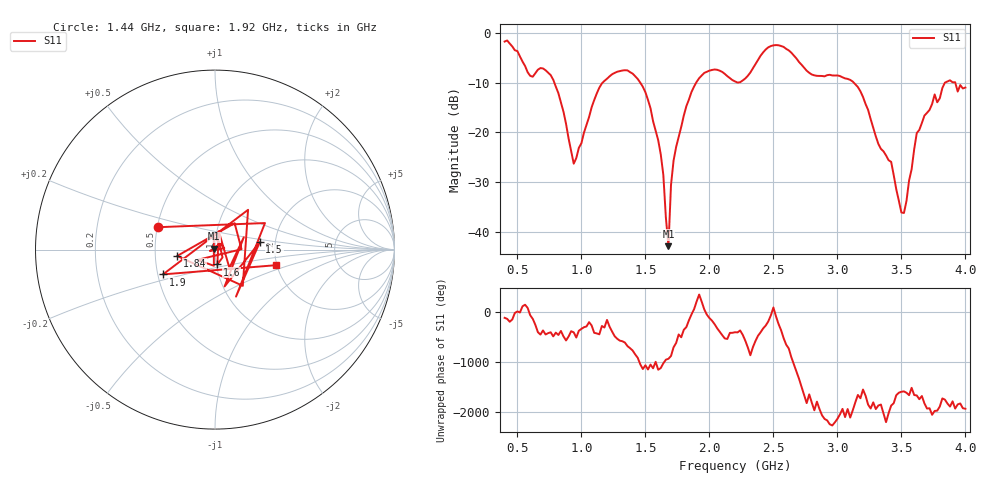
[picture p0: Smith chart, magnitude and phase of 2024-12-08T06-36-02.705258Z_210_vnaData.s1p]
!Created with skrf (http://scikit-rf.org).
# Hz S RI R 50.0
!freq ReS11 ImS11
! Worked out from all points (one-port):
!   181 points, 400 MHz to 4 GHz, reference 50 ohm
!   lowest |S11| = -42.8 dB at 1.68 GHz (marker M1), VSWR 1.01, Z = 49.4 + j0.469 ohm
!   |S11| at or under -10 dB: 788.2 MHz to 1.167 GHz (378.6 MHz wide, 38.7 % of centre); 1.459 GHz to 1.897 GHz (437.8 MHz wide, 26.1 % of centre); 3.127 GHz to 3.841 GHz (713.6 MHz wide, 20.5 % of centre) (the widest 3 of 5)
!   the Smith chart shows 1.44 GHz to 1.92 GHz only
!   S11 on the Smith chart (normalised r, x): 1.44 GHz: 0.50, +0.14; 1.5 GHz: 1.66, +0.15; 1.6 GHz: 1.01, -0.17; 1.84 GHz: 0.65, -0.05; 1.9 GHz: 0.53, -0.16; 1.92 GHz: 1.97, -0.39
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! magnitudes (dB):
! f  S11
! 400 MHz  -1.8
! 600 MHz  -8.7
! 760 MHz  -8.5
! 860 MHz  -15.9
! 940 MHz  -26.2
! 1.14 GHz  -11.0
! 1.3 GHz  -7.7
! 1.44 GHz  -9.3
! 1.5 GHz  -11.9
! 1.6 GHz  -21.5
! 1.64 GHz  -28.5
! 1.68 GHz  -42.8
! 1.7 GHz  -30.5
! 1.76 GHz  -20.9
! 1.84 GHz  -13.4
! 1.9 GHz  -9.9
! 1.92 GHz  -9.1
! 2.2 GHz  -9.8
! 2.48 GHz  -2.7
! 2.66 GHz  -4.6
! 2.8 GHz  -8.4
! 3.1 GHz  -9.5
! 3.42 GHz  -25.9
! 3.5 GHz  -36.0
! 3.56 GHz  -29.6
! 3.62 GHz  -20.1
! 3.76 GHz  -12.4
! 4 GHz  -11.0
